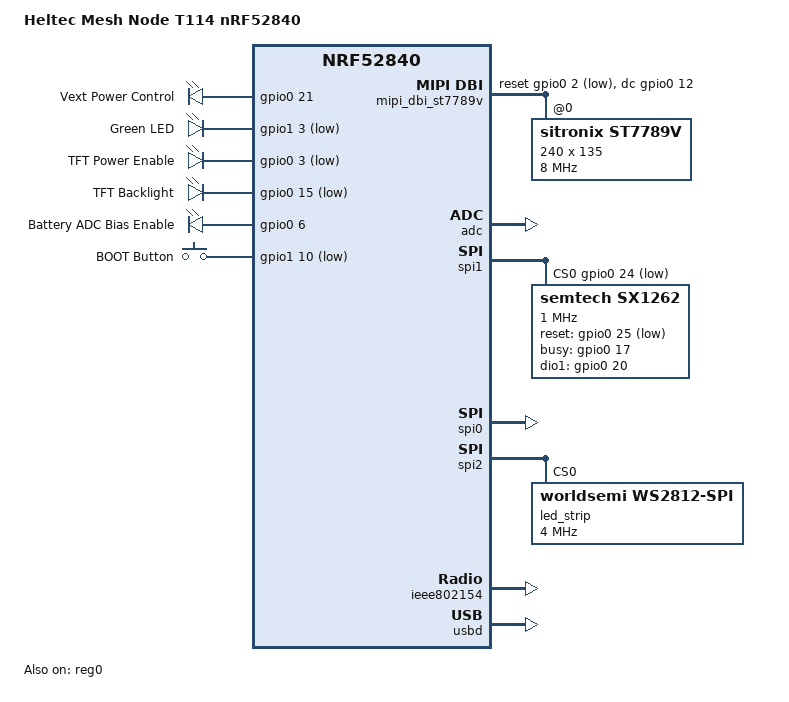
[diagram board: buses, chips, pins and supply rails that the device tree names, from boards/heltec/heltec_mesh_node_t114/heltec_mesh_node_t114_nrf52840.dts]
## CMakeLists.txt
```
cmake_minimum_required(VERSION 3.20.0)

# External Zephyr modules
list(APPEND ZEPHYR_EXTRA_MODULES ${CMAKE_CURRENT_SOURCE_DIR}/../esp-iot-log)

# Zephyr package
find_package(Zephyr REQUIRED HINTS $ENV{ZEPHYR_BASE})
project(tinygs_nRF52)

# Enable C++ support for RadioLib
set(CMAKE_CXX_STANDARD 20)

# RadioLib: only compile SX126x + core (saves ~85KB vs all radio modules).
# In v3.3 sysbuild, zephyr_library_named() is rejected in app-mode CMakeLists,
# so we add the sources directly to the app target instead.
file(GLOB RADIOLIB_CORE "lib/RadioLib/src/*.cpp")
file(GLOB RADIOLIB_SX126x "lib/RadioLib/src/modules/SX126x/*.cpp")
file(GLOB RADIOLIB_UTILS "lib/RadioLib/src/utils/*.cpp")
file(GLOB RADIOLIB_PHYSICAL "lib/RadioLib/src/protocols/PhysicalLayer/*.cpp")
set(RADIOLIB_SRCS
    ${RADIOLIB_CORE}
    ${RADIOLIB_SX126x}
    ${RADIOLIB_UTILS}
    ${RADIOLIB_PHYSICAL}
    lib/RadioLib/src/hal/Zephyr/ZephyrHal.cpp
)

# Application Sources
target_sources(app PRIVATE
    ${RADIOLIB_SRCS}
    src/main.cpp
    src/usb_stack.cpp
    src/hal/test_ZephyrHal.cpp
    src/tinygs_protocol.cpp
    src/tinygs_json.cpp
    src/tinygs_config.cpp
    src/tinygs_tz.cpp
    src/tinygs_display.cpp
    src/font8x16.c
    src/bitcode.c
    src/web/web_ui.cpp
    src/web/log_backend_web.c
    lib/AioP13/src/AioP13.cpp
)

# App Include Directories
target_include_directories(app PRIVATE src src/hal src/web lib/RadioLib/src lib/ArduinoJson/src lib/AioP13/src)

# AioP13 is third-party code; keep its warnings out of the build log without
# editing the vendored source.
set_source_files_properties(lib/AioP13/src/AioP13.cpp PROPERTIES
  COMPILE_OPTIONS "-Wno-parentheses;-Wno-unused-function;-Wno-comment")

# nrf_security's generated mbedTLS config headers have no entry for
# MBEDTLS_MEMORY_DEBUG, so CONFIG_MBEDTLS_MEMORY_DEBUG=y alone never reaches
# memory_buffer_alloc.c. Define it for every target so the library builds
# mbedtls_memory_buffer_alloc_{cur,max}_get and the header declares them
# (used by the STATUS log in src/main.cpp).
if(CONFIG_MBEDTLS_MEMORY_DEBUG)
  zephyr_compile_definitions(MBEDTLS_MEMORY_DEBUG)
endif()

# Toolchain-provided picolibc ships both nano-malloc.c and the regular
# malloc.c in libc.a, both defining malloc/free. Combined with Zephyr's
# COMMON_LIBC_MALLOC the linker sees duplicates. --allow-multiple-definition
# tells ld to use the first definition seen (COMMON_LIBC_MALLOC, listed
# before libc.a) and silently drop the picolibc nano-malloc duplicate.
#
# --wrap=<sym> intercepts every reference to <sym> through __wrap_<sym>
# and exposes the original as __real_<sym>. We use this to track bytes
# in the libc malloc arena (z_malloc_heap), which is otherwise opaque
# (the symbol is static in libc/common/source/stdlib/malloc.c). See
# pmem_* in src/main.cpp for the tracking shim.
zephyr_link_libraries(
    -Wl,--allow-multiple-definition
    -Wl,--wrap=malloc,--wrap=calloc,--wrap=realloc,--wrap=free)

# Web UI HTTP service iterable section.
zephyr_linker_sources(SECTIONS sections-rom.ld)
zephyr_linker_section(NAME http_resource_desc_tinygs_web
                      KVMA RAM_REGION GROUP RODATA_REGION)

# Generate UF2 for Adafruit/Heltec bootloaders
set_target_properties(app PROPERTIES BUILD_OUTPUT_UF2 TRUE)
```

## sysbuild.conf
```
# Sysbuild config for NCS v3.3.0
#
# Disable the deprecated Partition Manager — our flash layout is fully
# DTS-driven via app.overlay. Keeping PM on triggers flashdisk.c errors
# (PM_FOREACH_AFFILIATED_TO_disk macro undefined when per-image PM is off
# but sysbuild PM is on).
SB_CONFIG_PARTITION_MANAGER=n
```

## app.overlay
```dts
/*
 * TinyGS application overlay for the Heltec Mesh Node T114.
 *
 * Hardware definitions live in the board files at
 *   boards/heltec/heltec_mesh_node_t114/
 * This overlay only declares application-level wiring:
 *   - USB CDC ACM as the Zephyr console
 *   - A flash-disk node backed by tinygs_storage so USB MSC can serve
 *     the on-device configurator drive
 */

/ {
	chosen {
		zephyr,console = &cdc_acm_uart0;
		/* zephyr,display = &st7789v;  -- enable for LVGL */
	};

	/*
	 * 64 KB FATFS partition exposed to the host as the "TinyGS
	 * Configurator" USB drive. The partition itself is defined in the
	 * board DTS (tinygs_storage at 0xE2000); this node just attaches
	 * the disk-access layer to it.
	 */
	msc_disk0 {
		compatible = "zephyr,flash-disk";
		partition = <&tinygs_storage>;
		disk-name = "NAND";
		cache-size = <4096>;
	};
};

&zephyr_udc0 {
	cdc_acm_uart0: cdc_acm_uart0 {
		compatible = "zephyr,cdc-acm-uart";
	};
};

/*
 * External SPI NOR flash on the GPS port — Winbond W25Q128JVSQ (16 MB).
 * Pin map (PLAN.md §3.5): GPS_STANDBY=P1.02 (CS), GPS_PPS=P1.04 (SCK),
 *                         GPS_RX=P1.05 (MOSI), GPS_TX=P1.07 (MISO).
 * Power: Vext (P0.21) gates the 3V3 rail to the breakout. Vext is held
 * HIGH from boot, so probing during init works.
 *
 * --- Currently DISABLED — chip not yet physically wired ---
 *
 * The original `status = "okay"` claim of "fail-safe if absent" was wrong:
 * Zephyr's SPI NOR driver runs `spi_nor_configure()` during SYS_INIT (via
 * PM_DEVICE_RUNTIME's TURN_ON action), and its `spi_nor_wait_until_ready()`
 * spin loop has no iteration cap or timeout. With no chip wired, MISO
 * floats → status register reads 0xFF → WIP bit appears stuck → CPU
 * spins forever inside SYS_INIT, before main() ever runs. No boot
 * banner, no USB CDC enumeration past the brief stack init, no watchdog
 * (WDT isn't armed until watchdog_init() inside main). Confirmed in
 * bisect cycle 4 of e230dcc → main: device hangs identically every time.
 *
 * To re-enable when the breakout is physically wired:
 *   1. Verify the four-pin wiring matches the pinctrl block below
 *      (P1.02 CS, P1.04 SCK, P1.05 MOSI, P1.07 MISO).
 *   2. Confirm Vext is on at boot (enable_peripherals() in main.cpp).
 *      A multimeter on the breakout's VCC should read ~3.3 V.
 *   3. Edit BOTH lines below:
 *        - `ext_flash:` node:  status = "disabled"  →  status = "okay"
 *      The `&spi3` controller node already stays `status = "okay"`.
 *   4. Rebuild and flash. On boot you should see one of:
 *        <inf> tinygs_nrf52: ext_flash: spi3@... ready (16 MB, jedec-id ...)
 *      (success — proceed) or:
 *        <wrn> tinygs_nrf52: ext_flash: not detected ... continuing
 *      (driver bound but chip didn't respond — re-check wiring).
 *      If the device hangs at boot again, the wiring is wrong and the
 *      driver's spin loop is back — disable the node and check pins.
 *
 * TODO: a robust upstream fix would patch spi_nor_wait_until_ready() to
 * cap iterations and return -ENODEV on suspected absence — then we could
 * leave the node `okay` permanently and let the runtime probe decide.
 * Until then, the DTS gates physical presence honestly.
 */
&pinctrl {
	spi3_default: spi3_default {
		group1 {
			psels = <NRF_PSEL(SPIM_SCK,  1, 4)>,
				<NRF_PSEL(SPIM_MOSI, 1, 5)>,
				<NRF_PSEL(SPIM_MISO, 1, 7)>;
		};
	};

	spi3_sleep: spi3_sleep {
		group1 {
			psels = <NRF_PSEL(SPIM_SCK,  1, 4)>,
				<NRF_PSEL(SPIM_MOSI, 1, 5)>,
				<NRF_PSEL(SPIM_MISO, 1, 7)>;
			low-power-enable;
		};
	};
};

&spi3 {
	compatible = "nordic,nrf-spim";
	status = "okay";
	cs-gpios = <&gpio1 2 GPIO_ACTIVE_LOW>;
	pinctrl-0 = <&spi3_default>;
	pinctrl-1 = <&spi3_sleep>;
	pinctrl-names = "default", "sleep";

	ext_flash: w25q128@0 {
		compatible = "jedec,spi-nor";
		/* status: flip to "okay" once the W25Q128JV breakout is wired —
		 * see the multi-line comment above &pinctrl for the full procedure
		 * and the reason this stays disabled until then. */
		status = "disabled";
		reg = <0>;
		spi-max-frequency = <8000000>; /* 8 MHz — conservative; W25Q128JV good to 104 MHz */
		size = <DT_SIZE_M(128)>;       /* 128 Mbit = 16 MB */
		has-dpd;
		t-enter-dpd = <3000>;          /* ns; tDP per W25Q128JV datasheet */
		t-exit-dpd  = <3000>;          /* ns; tRES1 */
		jedec-id = [ ef 40 18 ];       /* W25Q128JVSQ */
	};
};
```

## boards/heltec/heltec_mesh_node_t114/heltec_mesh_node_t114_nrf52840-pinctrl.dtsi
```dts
/*
 * Copyright (c) 2026 Bruce Fitzsimons
 * SPDX-License-Identifier: Apache-2.0
 *
 * Pin assignments verified against:
 *   - Heltec MeshNode T114 V2.1 schematic
 *     (https://resource.heltec.cn/download/Mesh_Node_T114/schematic/MeshNode-T114_V2.1.pdf)
 *   - Meshtastic firmware variant.h
 *     (variants/nrf52840/heltec_mesh_node_t114/variant.h)
 *
 * SPI bus assignment (Zephyr instance numbering, distinct from Arduino's):
 *   spi0 -> ST7789V TFT display
 *   spi1 -> SX1262 LoRa radio
 *   spi2 -> WS2812 / SK6812 NeoPixel (dummy SCK)
 */

&pinctrl {
	/* SX1262 LoRa radio */
	spi1_default: spi1_default {
		group1 {
			psels = <NRF_PSEL(SPIM_SCK, 0, 19)>,
				<NRF_PSEL(SPIM_MOSI, 0, 22)>,
				<NRF_PSEL(SPIM_MISO, 0, 23)>;
		};
	};

	spi1_sleep: spi1_sleep {
		group1 {
			psels = <NRF_PSEL(SPIM_SCK, 0, 19)>,
				<NRF_PSEL(SPIM_MOSI, 0, 22)>,
				<NRF_PSEL(SPIM_MISO, 0, 23)>;
			low-power-enable;
		};
	};

	/* ST7789V display — write-only, no MISO line */
	spi0_default: spi0_default {
		group1 {
			psels = <NRF_PSEL(SPIM_SCK, 1, 8)>,
				<NRF_PSEL(SPIM_MOSI, 1, 9)>;
		};
	};

	spi0_sleep: spi0_sleep {
		group1 {
			psels = <NRF_PSEL(SPIM_SCK, 1, 8)>,
				<NRF_PSEL(SPIM_MOSI, 1, 9)>;
			low-power-enable;
		};
	};

	/*
	 * NeoPixel chain (2x SK6812). The nRF SPIM peripheral mandates an
	 * SCK pin even though WS2812-via-SPI ignores it; routing SCK to the
	 * unpopulated UART2 RX pad (P0.09) keeps it off any external pin.
	 */
	spi2_default: spi2_default {
		group1 {
			psels = <NRF_PSEL(SPIM_MOSI, 0, 14)>,
				<NRF_PSEL(SPIM_SCK, 0, 9)>;
		};
	};

	spi2_sleep: spi2_sleep {
		group1 {
			psels = <NRF_PSEL(SPIM_MOSI, 0, 14)>,
				<NRF_PSEL(SPIM_SCK, 0, 9)>;
			low-power-enable;
		};
	};

	/*
	 * UART1 — L76K GNSS module (optional, populated on T114 V2 only when
	 * GPS variant is ordered). TX from MCU = P1.07, RX into MCU = P1.05.
	 */
	uart1_default: uart1_default {
		group1 {
			psels = <NRF_PSEL(UART_TX, 1, 7)>;
		};
		group2 {
			psels = <NRF_PSEL(UART_RX, 1, 5)>;
			bias-pull-up;
		};
	};

	uart1_sleep: uart1_sleep {
		group1 {
			psels = <NRF_PSEL(UART_TX, 1, 7)>,
				<NRF_PSEL(UART_RX, 1, 5)>;
			low-power-enable;
		};
	};

	/* I2C0 — RTC footprint (PCF8563TS), unpopulated on V2 */
	i2c0_default: i2c0_default {
		group1 {
			psels = <NRF_PSEL(TWIM_SDA, 0, 26)>,
				<NRF_PSEL(TWIM_SCL, 0, 27)>;
		};
	};

	i2c0_sleep: i2c0_sleep {
		group1 {
			psels = <NRF_PSEL(TWIM_SDA, 0, 26)>,
				<NRF_PSEL(TWIM_SCL, 0, 27)>;
			low-power-enable;
		};
	};

	/* I2C1 — header pins, for user expansion */
	i2c1_default: i2c1_default {
		group1 {
			psels = <NRF_PSEL(TWIM_SDA, 0, 16)>,
				<NRF_PSEL(TWIM_SCL, 0, 13)>;
		};
	};

	i2c1_sleep: i2c1_sleep {
		group1 {
			psels = <NRF_PSEL(TWIM_SDA, 0, 16)>,
				<NRF_PSEL(TWIM_SCL, 0, 13)>;
			low-power-enable;
		};
	};
};
```

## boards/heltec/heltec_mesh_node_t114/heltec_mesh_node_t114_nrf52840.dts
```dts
/*
 * Copyright (c) 2026 Bruce Fitzsimons
 * SPDX-License-Identifier: Apache-2.0
 *
 * Heltec Mesh Node T114 V2 (HT-n5262)
 * ===================================
 * Product:   https://heltec.org/project/mesh-node-t114/
 * Schematic: https://resource.heltec.cn/download/Mesh_Node_T114/schematic/MeshNode-T114_V2.1.pdf
 * Arduino:   https://github.com/HelTecAutomation/Heltec_nRF52
 *
 * Hardware
 *   MCU      nRF52840 QIAA, 1 MB flash, 256 KB SRAM
 *   LoRa     SX1262, DIO2 RF switch, DIO3 TCXO 1.8 V
 *   Display  ST7789V 1.14" 240x135 RGB565 (optional)
 *   GPS      L76K GNSS on UART1 (optional, GPS-equipped variant)
 *   USB      Type-C, ESD protected, used for serial console + UF2 DFU
 *   Battery  LiPo via 100k/390k divider on AIN2 (P0.04)
 *   LEDs     Green LED (P1.03) + 2x SK6812 NeoPixel chain (P0.14)
 *   Button   BOOT (P1.10, active low)
 *
 * Bootloader (read-only from app): Adafruit nRF52 UF2 at 0xF4000-0x100000.
 * Application code partition starts at 0x26000 (above SoftDevice S140).
 * Both addresses are baked into every shipped Adafruit bootloader and must
 * never be changed without a coordinated bootloader re-flash via SWD.
 */

/dts-v1/;
#include <nordic/nrf52840_qiaa.dtsi>
#include "heltec_mesh_node_t114_nrf52840-pinctrl.dtsi"
#include <zephyr/dt-bindings/input/input-event-codes.h>
#include <zephyr/dt-bindings/led/led.h>
#include <zephyr/dt-bindings/lora/sx126x.h>

/ {
	model = "Heltec Mesh Node T114 nRF52840";
	compatible = "heltec,mesh-node-t114-nrf52840";

	chosen {
		zephyr,sram = &sram0;
		zephyr,flash = &flash0;
		zephyr,code-partition = &code_partition;
		zephyr,ieee802154 = &ieee802154;
	};

	leds {
		compatible = "gpio-leds";

		vext_pin: vext_pin {
			gpios = <&gpio0 21 GPIO_ACTIVE_HIGH>;
			label = "Vext Power Control";
		};

		green_led: green_led {
			gpios = <&gpio1 3 GPIO_ACTIVE_LOW>;
			label = "Green LED";
		};

		tft_en: tft_en {
			gpios = <&gpio0 3 GPIO_ACTIVE_LOW>;
			label = "TFT Power Enable";
		};

		backlight: backlight {
			gpios = <&gpio0 15 GPIO_ACTIVE_LOW>;
			label = "TFT Backlight";
		};

		adc_ctrl: adc_ctrl {
			gpios = <&gpio0 6 GPIO_ACTIVE_HIGH>;
			label = "Battery ADC Bias Enable";
		};
	};

	buttons {
		compatible = "gpio-keys";

		boot_button: boot_button {
			gpios = <&gpio1 10 (GPIO_ACTIVE_LOW | GPIO_PULL_UP)>;
			label = "BOOT Button";
			zephyr,code = <INPUT_KEY_0>;
		};
	};

	aliases {
		led0 = &green_led;
		sw0 = &boot_button;
		mcuboot-button0 = &boot_button;
		mcuboot-led0 = &green_led;
		watchdog0 = &wdt0;
		vext = &vext_pin;
		backlight = &backlight;
		adc-ctrl = &adc_ctrl;
		lora0 = &sx1262;
		led-strip = &led_strip;
	};
};

&reg0 {
	status = "okay";
};

&reg1 {
	regulator-initial-mode = <NRF5X_REG_MODE_DCDC>;
};

&adc {
	status = "okay";
};

&uicr {
	gpio-as-nreset;
};

&gpiote {
	status = "okay";
};

&gpio0 {
	status = "okay";
};

&gpio1 {
	status = "okay";
};

/*
 * UART1 -> L76K GNSS (only populated on GPS-equipped variant). Marked
 * disabled by default so a non-GPS board does not waste current on the
 * peripheral; applications/overlays can re-enable as needed.
 */
&uart1 {
	compatible = "nordic,nrf-uarte";
	status = "disabled";
	current-speed = <9600>;
	pinctrl-0 = <&uart1_default>;
	pinctrl-1 = <&uart1_sleep>;
	pinctrl-names = "default", "sleep";
};

&i2c0 {
	compatible = "nordic,nrf-twi";
	status = "disabled"; /* RTC footprint, unpopulated on V2 */
	pinctrl-0 = <&i2c0_default>;
	pinctrl-1 = <&i2c0_sleep>;
	pinctrl-names = "default", "sleep";
};

&i2c1 {
	compatible = "nordic,nrf-twi";
	status = "disabled"; /* available on header, off until used */
	pinctrl-0 = <&i2c1_default>;
	pinctrl-1 = <&i2c1_sleep>;
	pinctrl-names = "default", "sleep";
};

/*
 * SPI1 -> SX1262 LoRa
 *   SCK   P0.19   MOSI  P0.22   MISO  P0.23
 *   CS    P0.24   DIO1  P0.20   BUSY  P0.17   RESET P0.25
 *   DIO2 -> internal RF switch, DIO3 -> TCXO 1.8 V
 */
&spi1 {
	compatible = "nordic,nrf-spim";
	status = "okay";
	pinctrl-0 = <&spi1_default>;
	pinctrl-1 = <&spi1_sleep>;
	pinctrl-names = "default", "sleep";
	cs-gpios = <&gpio0 24 GPIO_ACTIVE_LOW>;

	sx1262: sx1262@0 {
		compatible = "semtech,sx1262";
		reg = <0>;
		spi-max-frequency = <1000000>;
		reset-gpios = <&gpio0 25 GPIO_ACTIVE_LOW>;
		busy-gpios = <&gpio0 17 GPIO_ACTIVE_HIGH>;
		dio1-gpios = <&gpio0 20 GPIO_ACTIVE_HIGH>;
		dio2-tx-enable;
		dio3-tcxo-voltage = <SX126X_DIO3_TCXO_1V8>;
		tcxo-power-startup-delay-ms = <5>;
	};
};

/*
 * SPI0 -> ST7789V TFT (240x135 landscape)
 *   SCK P1.08, MOSI P1.09, CS P0.11, DC P0.12, RESET P0.02
 *   Backlight P0.15 (active LOW), TFT power enable P0.03 (active LOW)
 */
&spi0 {
	compatible = "nordic,nrf-spim";
	status = "okay";
	pinctrl-0 = <&spi0_default>;
	pinctrl-1 = <&spi0_sleep>;
	pinctrl-names = "default", "sleep";
	cs-gpios = <&gpio0 11 GPIO_ACTIVE_LOW>;
};

/*
 * Zephyr 3.7 moved the ST7789V driver under the MIPI DBI API. The
 * display node is now a child of a `zephyr,mipi-dbi-spi` wrapper which
 * owns DC + RESET; the inner node owns the controller-specific timing.
 */
/ {
	mipi_dbi_st7789v {
		compatible = "zephyr,mipi-dbi-spi";
		spi-dev = <&spi0>;
		/*
		 * dc-gpios polarity is GPIO_ACTIVE_HIGH for the v3.7 mipi-dbi-spi
		 * driver — it writes 0 for command, 1 for data per the binding
		 * ("Set to low when sending a command, or high when sending data").
		 * The legacy v2.6 ST7789V driver was the opposite (wrote 1 for
		 * command), so the same physical pin needed GPIO_ACTIVE_LOW back
		 * then; carrying that flag verbatim into the MIPI DBI rewrite
		 * inverted DC, the chip read every command as data, init silently
		 * did nothing, and the display stayed blank.
		 */
		dc-gpios = <&gpio0 12 GPIO_ACTIVE_HIGH>;
		reset-gpios = <&gpio0 2 GPIO_ACTIVE_LOW>;
		write-only;
		#address-cells = <1>;
		#size-cells = <0>;

		st7789v: st7789v@0 {
			compatible = "sitronix,st7789v";
			reg = <0>;
			mipi-max-frequency = <8000000>;
			mipi-mode = "MIPI_DBI_MODE_SPI_4WIRE";
			width = <240>;
			height = <135>;
			x-offset = <40>;
			y-offset = <53>;
			vcom = <0x19>;
			gctrl = <0x35>;
			vrhs = <0x12>;
			vdvs = <0x20>;
			mdac = <0x60>;        /* 90-degree rotation */
			gamma = <0x01>;
			colmod = <0x55>;      /* RGB565 */
			lcm = <0x2c>;
			porch-param = [0c 0c 00 33 33];
			cmd2en-param = [5a 69 02 01];
			pwctrl1-param = [a4 a1];
			pvgam-param = [D0 04 0D 11 13 2B 3F 54 4C 18 0D 0B 1F 23];
			nvgam-param = [D0 04 0C 11 13 2C 3F 44 51 2F 1F 1F 20 23];
			ram-param = [00 F0];
			rgb-param = [CD 08 14];
		};
	};
};

/*
 * SPI2 -> WS2812/SK6812 NeoPixel chain (2 pixels, GRB at 800 kHz).
 * The nRF SPIM peripheral mandates an SCK pin; the dummy SCK is routed
 * to the unpopulated UART2 RX pad (P0.09).
 *
 * NeoPixel power is gated by Vext (P0.21) — drive vext_pin high before
 * sending data.
 */
&spi2 {
	compatible = "nordic,nrf-spim";
	status = "okay";
	pinctrl-0 = <&spi2_default>;
	pinctrl-1 = <&spi2_sleep>;
	pinctrl-names = "default", "sleep";

	led_strip: ws2812@0 {
		compatible = "worldsemi,ws2812-spi";
		reg = <0>;
		spi-max-frequency = <4000000>;
		chain-length = <2>;
		color-mapping = <LED_COLOR_ID_GREEN
				 LED_COLOR_ID_RED
				 LED_COLOR_ID_BLUE>;
		spi-one-frame = <0x70>;
		spi-zero-frame = <0x40>;
	};
};

/*
 * QSPI: the T114 V2 schematic exposes pins for an external QSPI flash
 * (MX25R16 footprint), but production V2 boards do not populate it.
 * Keep QSPI disabled — leaving it enabled would also cause pin
 * conflicts with our SPI1 (SX1262) on P0.19/22/23 and SX1262 BUSY on
 * P0.17, both of which the nRF52840 DK board pinctrl reserves for QSPI.
 */
&qspi {
	status = "disabled";
};

&ieee802154 {
	status = "okay";
};

zephyr_udc0: &usbd {
	compatible = "nordic,nrf-usbd";
	status = "okay";
};

/*
 * Flash partition map — Heltec Mesh Node T114 (1 MB nRF52840)
 *
 * Verified against the Adafruit nRF52 bootloader linker script and
 * recovered SWD flash dumps.
 *
 *   0x00000  +-------------------------------+
 *            | MBR + SoftDevice S140 (152K) | read-only
 *   0x26000  +-------------------------------+
 *            | Application       (752 KB)    | code_partition
 *   0xE2000  +-------------------------------+
 *            | FATFS Storage      (64 KB)    | tinygs_storage
 *   0xF2000  +-------------------------------+
 *            | NVS Settings        (8 KB)    | storage_partition
 *   0xF4000  +-------------------------------+
 *            | Adafruit Bootloader (48 KB)   | read-only
 *   0x100000 +-------------------------------+
 *
 * CRITICAL: any write at or above 0xF4000 will brick the device — the
 * Adafruit UF2 bootloader lives there and is the only path to recovery
 * without SWD. Likewise the SoftDevice region (0..0x26000) is preserved
 * even though we don't use the SoftDevice; relocating code_partition
 * downward would also brick existing devices because the bootloader
 * jumps to 0x26000.
 */
&flash0 {
	partitions {
		compatible = "fixed-partitions";
		#address-cells = <1>;
		#size-cells = <1>;

		boot_partition: partition@0 {
			label = "softdevice";
			reg = <0x00000000 0x00026000>;
			read-only;
		};

		code_partition: partition@26000 {
			label = "code_slot";
			reg = <0x00026000 0x000bc000>;
		};

		/*
		 * 64 KB FATFS — exposed over USB MSC as the configurator drive.
		 * Must be >=128 sectors (64 KB at 512 B/sector) so that the
		 * FatFs auto-format path will produce a valid FS.
		 */
		tinygs_storage: partition@e2000 {
			label = "tinygs_storage";
			reg = <0x000e2000 0x00010000>;
		};

		/* 8 KB NVS — OpenThread network credentials + app settings. */
		storage_partition: partition@f2000 {
			label = "storage";
			reg = <0x000f2000 0x00002000>;
		};

		bootloader_partition: partition@f4000 {
			label = "adafruit_bootloader";
			reg = <0x000f4000 0x0000c000>;
			read-only;
		};
	};
};
```

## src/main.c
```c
#include <zephyr/kernel.h>
#include <zephyr/logging/log.h>
#include <zephyr/net/openthread.h>
#include <zephyr/net/mqtt.h>
#include <zephyr/net/socket.h>
#include <openthread/thread.h>
#include <openthread/ip6.h>

LOG_MODULE_REGISTER(tinygs_nrf52, LOG_LEVEL_DBG);

/* The mqtt client struct */
static struct mqtt_client client_ctx;

/* MQTT Broker details */
#define SERVER_ADDR "mqtt.tinygs.com"
#define SERVER_PORT 8883
#define APP_CONNECT_TIMEOUT_MS 2000
#define APP_SLEEP_MSECS 500

/* Buffers for MQTT client */
static uint8_t rx_buffer[256];
static uint8_t tx_buffer[256];
static uint8_t payload_buf[256];

/**
 * OpenThread State Change Callback
 */
static void ot_state_changed_handler(otChangedFlags flags, struct openthread_context *ot_context, void *user_data)
{
    if (flags & OT_CHANGED_THREAD_ROLE) {
        switch (otThreadGetDeviceRole(ot_context->instance)) {
        case OT_DEVICE_ROLE_CHILD:
            LOG_INF("OpenThread Role: Child (Connected)");
            break;
        case OT_DEVICE_ROLE_ROUTER:
            LOG_INF("OpenThread Role: Router (Connected)");
            break;
        case OT_DEVICE_ROLE_LEADER:
            LOG_INF("OpenThread Role: Leader (Connected)");
            break;
        case OT_DEVICE_ROLE_DETACHED:
            LOG_INF("OpenThread Role: Detached");
            break;
        case OT_DEVICE_ROLE_DISABLED:
            LOG_INF("OpenThread Role: Disabled");
            break;
        }
    }
}

static struct openthread_state_changed_cb ot_state_cb = {
    .state_changed_cb = ot_state_changed_handler,
};

/**
 * Initialize OpenThread Network
 */
static void init_openthread(void)
{
    LOG_INF("Initializing OpenThread...");
    openthread_state_changed_cb_register(openthread_get_default_context(), &ot_state_cb);
    openthread_start(openthread_get_default_context());
}

/**
 * Main Application Loop
 */
int main(void)
{
    LOG_INF("TinyGS nRF52 Port - Phase 1: TLS over Thread PoC");
    LOG_INF("Board: Heltec T114");

    init_openthread();

    /* The main loop will eventually handle the state machine for MQTT keep-alives 
       and checking for LoRa packets. For now, we just sleep to let the OpenThread 
       stack connect to the Border Router in the background. */
    while (1) {
        k_msleep(APP_SLEEP_MSECS);
    }

    return 0;
}
```

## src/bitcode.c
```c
/*
 * BitCode — FSK frame decoders ported from ESP32 TinyGS
 * Original: Copyright (C) 2022-2023 @estbhan (GPL-3.0)
 * Ported to C for Zephyr by TinyGS nRF52 project.
 */

#include "bitcode.h"
#include <string.h>
#include <stdbool.h>

/* Read bit at position (1=LSB, 8=MSB) from a byte */
static inline uint8_t read_bit(uint8_t byte, int pos)
{
    return (byte >> (pos - 1)) & 1;
}

/* Write bit at position (1=LSB, 8=MSB) in a byte */
static inline void write_bit_byte(uint8_t *byte, int pos, int val)
{
    if (val) {
        *byte |= (1 << (pos - 1));
    } else {
        *byte &= ~(1 << (pos - 1));
    }
}

/* Read bit at position from uint32_t */
static inline int read_bit32(uint32_t val, int pos)
{
    return (val >> (pos - 1)) & 1;
}

static inline void write_bit32(uint32_t *val, int pos, int bit)
{
    if (bit) {
        *val |= (1u << (pos - 1));
    } else {
        *val &= ~(1u << (pos - 1));
    }
}

uint8_t bitcode_reverse_byte(uint8_t b)
{
    uint8_t r = 0;
    for (int i = 1; i <= 8; i++) {
        r = (r << 1) | read_bit(b, i);
    }
    return r;
}

/* NRZ to NRZI conversion */
static void nrz2nrzi(const uint8_t *in, size_t len, uint8_t *out, size_t *out_len)
{
    uint8_t prev = 0;
    size_t idx = 0;

    for (size_t p = 0; p < len; p++) {
        uint8_t byte_in = in[p];
        uint8_t byte_out = 0;
        for (int i = 8; i > 0; i--) {
            uint8_t cur = read_bit(byte_in, i);
            if (prev == cur) {
                byte_out |= (1 << (i - 1));
            }
            prev = cur;
        }
        out[idx++] = byte_out;
    }
    *out_len = idx;
}

/* x^17+x^12 descrambler */
static void descram1712(const uint8_t *in, size_t len, uint8_t *out)
{
    uint32_t lfsr = 0;

    for (size_t idx = 0; idx < len; idx++) {
        uint8_t byte_in = in[idx];
        uint8_t byte_out = 0;

        for (int bit_pos = 8; bit_pos > 0; bit_pos--) {
            int x1 = read_bit32(lfsr, 12) ^ read_bit32(lfsr, 17);
            int bit = read_bit(byte_in, bit_pos);
            write_bit_byte(&byte_out, bit_pos, bit ^ x1);
            lfsr = lfsr << 1;
            write_bit32(&lfsr, 1, bit);
        }

        out[idx] = byte_out;
    }
}

/* Remove AX.25 bit stuffing and extract frame */
static int remove_bit_stuffing(const uint8_t *in, size_t in_len,
                               uint8_t *out, size_t *out_len, size_t out_max)
{
    int ones = 0, k = 8;
    uint8_t byte_in, byte_out = 0;
    int bit1 = 0, bit2, bit3;
    int resync = 0;
    bool error = true;
    bool flag_found = false;
    bool skip = false;
    bool store = false;
    *out_len = 0;

    byte_in = in[0];
    bit2 = read_bit(byte_in, 8);
    bit3 = read_bit(byte_in, 7);
    int j = 6;
    size_t i = 0;

    while (i < in_len) {
        byte_in = in[i];
        while (j > 0) {
            bit1 = bit2;
            bit2 = bit3;
            bit3 = read_bit(byte_in, j);

            if (resync > 0) {
                resync--;
                skip = true;
            }

            if (!skip && !flag_found) {
                if (bit1 == 0) {
                    if (store) write_bit_byte(&byte_out, k, 0);
                    k--;
                    ones = 0;
                    if (k == 0) {
                        if (store && *out_len < out_max) {
                            out[(*out_len)++] = byte_out;
                        }
                        k = 8;
                        byte_out = 0;
                    }
                } else {
                    ones++;
                    if (store) write_bit_byte(&byte_out, k, 1);
                    k--;
                    if (k == 0) {
                        if (store && *out_len < out_max) {
                            out[(*out_len)++] = byte_out;
                        }
                        k = 8;
                        byte_out = 0;
                    }
                    if (ones == 5) {
                        if (bit2 == 1) {
                            j = 0;
                            if (bit3 == 0) {
                                flag_found = true;
                                if (!store) store = true;
                                if (*out_len < 16 || k != 2) {
                                    *out_len = 0;
                                    k = 8;
                                    error = true;
                                    flag_found = false;
                                    resync = 2;
                                } else {
                                    if (k == 2) {
                                        error = false;
                                        i = in_len; /* break outer */
                                    } else {
                                        error = true;
                                    }
                                }
                            } else {
                                error = true;
                            }
                        } else {
                            ones = 0;
                            skip = true;
                        }
                    }
                }
            } else {
                skip = false;
            }
            j--;
        }
        j = 8;
        i++;
    }

    return (flag_found && !error) ? 0 : 1;
}

int bitcode_nrz2ax25(const uint8_t *data, size_t data_len,
                     const uint8_t *sync_word, size_t sync_len,
                     uint8_t framing,
                     uint8_t *ax25bin, size_t *out_len, size_t out_max)
{
    if (data_len + sync_len < 16) {
        *out_len = 0;
        return 1;
    }

    /* Prepend sync word to packet data */
    size_t total = sync_len + data_len;
    /* Use stack buffer — FSK packets are small (<256 bytes typically) */
    uint8_t combined[512];
    if (total > sizeof(combined)) {
        *out_len = 0;
        return 1;
    }
    memcpy(combined, sync_word, sync_len);
    memcpy(combined + sync_len, data, data_len);

    uint8_t hdlc[512];
    size_t hdlc_len = 0;

    if (framing == 1) {
        /* NRZS → AX.25 */
        nrz2nrzi(combined, total, hdlc, &hdlc_len);
    } else if (framing == 3) {
        /* Scrambled(x17x12) → NRZS → AX.25 */
        uint8_t descrambled[512];
        descram1712(combined, total, descrambled);
        nrz2nrzi(descrambled, total, hdlc, &hdlc_len);
    } else {
        *out_len = 0;
        return 1;
    }

    /* Remove bit stuffing and extract AX.25 frame */
    uint8_t inverted[512];
    size_t inv_len = 0;
    int result = remove_bit_stuffing(hdlc, hdlc_len, inverted, &inv_len, sizeof(inverted));

    /* Invert bit order of each byte (AX.25 convention) */
    *out_len = (inv_len > out_max) ? out_max : inv_len;
    for (size_t i = 0; i < *out_len; i++) {
        ax25bin[i] = bitcode_reverse_byte(inverted[i]);
    }

    return result;
}

void bitcode_pn9(const uint8_t *in, size_t len, uint8_t *out)
{
    uint32_t pn9 = 0x1FF;
    uint32_t mask = 0x1FF;

    for (size_t b = 0; b < len; b++) {
        out[b] = in[b] ^ (uint8_t)pn9;
        for (int k = 0; k < 8; k++) {
            write_bit32(&pn9, 10, read_bit32(pn9, 1) ^ read_bit32(pn9, 6));
            pn9 >>= 1;
            pn9 &= mask;
        }
    }
}
```

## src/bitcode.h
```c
/*
 * BitCode — FSK frame decoders ported from ESP32 TinyGS
 * Original: Copyright (C) 2022-2023 @estbhan (GPL-3.0)
 *
 * Provides:
 *   - NRZ to NRZI conversion
 *   - AX.25 HDLC frame extraction (flag detection, bit unstuffing)
 *   - PN9 descrambler (fixed 8-bit shift)
 *   - x^17+x^12 descrambler
 */

#ifndef BITCODE_H
#define BITCODE_H

#include <stdint.h>
#include <stddef.h>

#ifdef __cplusplus
extern "C" {
#endif

/*
 * Decode NRZ-S encoded FSK data into AX.25 frame.
 * Prepends sync word, converts NRZ→NRZI, removes bit stuffing,
 * inverts bit order per byte.
 *
 * framing=1: NRZS → AX.25
 * framing=3: Scrambled(x17x12) → NRZS → AX.25
 *
 * Returns 0 on success, 1 on frame error.
 * Output in ax25bin, size in *out_len.
 */
int bitcode_nrz2ax25(const uint8_t *data, size_t data_len,
                     const uint8_t *sync_word, size_t sync_len,
                     uint8_t framing,
                     uint8_t *ax25bin, size_t *out_len, size_t out_max);

/*
 * PN9 descrambler (fixed 8-bit shift).
 * framing=2.
 * Output same size as input.
 */
void bitcode_pn9(const uint8_t *in, size_t len, uint8_t *out);

/*
 * Reverse bits in a single byte.
 */
uint8_t bitcode_reverse_byte(uint8_t b);

#ifdef __cplusplus
}
#endif

#endif /* BITCODE_H */
```

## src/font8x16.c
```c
/**
 * 8x16 bitmap font — ASCII 32-126 (printable characters).
 * Based on the classic PC BIOS font. Public domain.
 * 16 bytes per character (one byte per row, MSB = left).
 */

#include "font8x16.h"

const uint8_t font8x16_data[] = {
    /* Space (32) */
    0x00,0x00,0x00,0x00,0x00,0x00,0x00,0x00,0x00,0x00,0x00,0x00,0x00,0x00,0x00,0x00,
    /* ! */
    0x00,0x00,0x18,0x3C,0x3C,0x3C,0x18,0x18,0x18,0x00,0x18,0x18,0x00,0x00,0x00,0x00,
    /* " */
    0x00,0x66,0x66,0x66,0x24,0x00,0x00,0x00,0x00,0x00,0x00,0x00,0x00,0x00,0x00,0x00,
    /* # */
    0x00,0x00,0x00,0x6C,0x6C,0xFE,0x6C,0x6C,0x6C,0xFE,0x6C,0x6C,0x00,0x00,0x00,0x00,
    /* $ */
    0x18,0x18,0x7C,0xC6,0xC2,0xC0,0x7C,0x06,0x06,0x86,0xC6,0x7C,0x18,0x18,0x00,0x00,
    /* % */
    0x00,0x00,0x00,0x00,0xC2,0xC6,0x0C,0x18,0x30,0x60,0xC6,0x86,0x00,0x00,0x00,0x00,
    /* & */
    0x00,0x00,0x38,0x6C,0x6C,0x38,0x76,0xDC,0xCC,0xCC,0xCC,0x76,0x00,0x00,0x00,0x00,
    /* ' */
    0x00,0x30,0x30,0x30,0x60,0x00,0x00,0x00,0x00,0x00,0x00,0x00,0x00,0x00,0x00,0x00,
    /* ( */
    0x00,0x00,0x0C,0x18,0x30,0x30,0x30,0x30,0x30,0x30,0x18,0x0C,0x00,0x00,0x00,0x00,
    /* ) */
    0x00,0x00,0x30,0x18,0x0C,0x0C,0x0C,0x0C,0x0C,0x0C,0x18,0x30,0x00,0x00,0x00,0x00,
    /* * */
    0x00,0x00,0x00,0x00,0x00,0x66,0x3C,0xFF,0x3C,0x66,0x00,0x00,0x00,0x00,0x00,0x00,
    /* + */
    0x00,0x00,0x00,0x00,0x00,0x18,0x18,0x7E,0x18,0x18,0x00,0x00,0x00,0x00,0x00,0x00,
    /* , */
    0x00,0x00,0x00,0x00,0x00,0x00,0x00,0x00,0x00,0x18,0x18,0x18,0x30,0x00,0x00,0x00,
    /* - */
    0x00,0x00,0x00,0x00,0x00,0x00,0x00,0xFE,0x00,0x00,0x00,0x00,0x00,0x00,0x00,0x00,
    /* . */
    0x00,0x00,0x00,0x00,0x00,0x00,0x00,0x00,0x00,0x00,0x18,0x18,0x00,0x00,0x00,0x00,
    /* / */
    0x00,0x00,0x00,0x00,0x02,0x06,0x0C,0x18,0x30,0x60,0xC0,0x80,0x00,0x00,0x00,0x00,
    /* 0 */
    0x00,0x00,0x38,0x6C,0xC6,0xC6,0xD6,0xD6,0xC6,0xC6,0x6C,0x38,0x00,0x00,0x00,0x00,
    /* 1 */
    0x00,0x00,0x18,0x38,0x78,0x18,0x18,0x18,0x18,0x18,0x18,0x7E,0x00,0x00,0x00,0x00,
    /* 2 */
    0x00,0x00,0x7C,0xC6,0x06,0x0C,0x18,0x30,0x60,0xC0,0xC6,0xFE,0x00,0x00,0x00,0x00,
    /* 3 */
    0x00,0x00,0x7C,0xC6,0x06,0x06,0x3C,0x06,0x06,0x06,0xC6,0x7C,0x00,0x00,0x00,0x00,
    /* 4 */
    0x00,0x00,0x0C,0x1C,0x3C,0x6C,0xCC,0xFE,0x0C,0x0C,0x0C,0x1E,0x00,0x00,0x00,0x00,
    /* 5 */
    0x00,0x00,0xFE,0xC0,0xC0,0xC0,0xFC,0x06,0x06,0x06,0xC6,0x7C,0x00,0x00,0x00,0x00,
    /* 6 */
    0x00,0x00,0x38,0x60,0xC0,0xC0,0xFC,0xC6,0xC6,0xC6,0xC6,0x7C,0x00,0x00,0x00,0x00,
    /* 7 */
    0x00,0x00,0xFE,0xC6,0x06,0x06,0x0C,0x18,0x30,0x30,0x30,0x30,0x00,0x00,0x00,0x00,
    /* 8 */
    0x00,0x00,0x7C,0xC6,0xC6,0xC6,0x7C,0xC6,0xC6,0xC6,0xC6,0x7C,0x00,0x00,0x00,0x00,
    /* 9 */
    0x00,0x00,0x7C,0xC6,0xC6,0xC6,0x7E,0x06,0x06,0x06,0x0C,0x78,0x00,0x00,0x00,0x00,
    /* : */
    0x00,0x00,0x00,0x00,0x18,0x18,0x00,0x00,0x00,0x18,0x18,0x00,0x00,0x00,0x00,0x00,
    /* ; */
    0x00,0x00,0x00,0x00,0x18,0x18,0x00,0x00,0x00,0x18,0x18,0x30,0x00,0x00,0x00,0x00,
    /* < */
    0x00,0x00,0x00,0x06,0x0C,0x18,0x30,0x60,0x30,0x18,0x0C,0x06,0x00,0x00,0x00,0x00,
    /* = */
    0x00,0x00,0x00,0x00,0x00,0x7E,0x00,0x00,0x7E,0x00,0x00,0x00,0x00,0x00,0x00,0x00,
    /* > */
    0x00,0x00,0x00,0x60,0x30,0x18,0x0C,0x06,0x0C,0x18,0x30,0x60,0x00,0x00,0x00,0x00,
    /* ? */
    0x00,0x00,0x7C,0xC6,0xC6,0x0C,0x18,0x18,0x18,0x00,0x18,0x18,0x00,0x00,0x00,0x00,
    /* @ */
    0x00,0x00,0x00,0x7C,0xC6,0xC6,0xDE,0xDE,0xDE,0xDC,0xC0,0x7C,0x00,0x00,0x00,0x00,
    /* A */
    0x00,0x00,0x10,0x38,0x6C,0xC6,0xC6,0xFE,0xC6,0xC6,0xC6,0xC6,0x00,0x00,0x00,0x00,
    /* B */
    0x00,0x00,0xFC,0x66,0x66,0x66,0x7C,0x66,0x66,0x66,0x66,0xFC,0x00,0x00,0x00,0x00,
    /* C */
    0x00,0x00,0x3C,0x66,0xC2,0xC0,0xC0,0xC0,0xC0,0xC2,0x66,0x3C,0x00,0x00,0x00,0x00,
    /* D */
    0x00,0x00,0xF8,0x6C,0x66,0x66,0x66,0x66,0x66,0x66,0x6C,0xF8,0x00,0x00,0x00,0x00,
    /* E */
    0x00,0x00,0xFE,0x66,0x62,0x68,0x78,0x68,0x60,0x62,0x66,0xFE,0x00,0x00,0x00,0x00,
    /* F */
    0x00,0x00,0xFE,0x66,0x62,0x68,0x78,0x68,0x60,0x60,0x60,0xF0,0x00,0x00,0x00,0x00,
    /* G */
    0x00,0x00,0x3C,0x66,0xC2,0xC0,0xC0,0xDE,0xC6,0xC6,0x66,0x3A,0x00,0x00,0x00,0x00,
    /* H */
    0x00,0x00,0xC6,0xC6,0xC6,0xC6,0xFE,0xC6,0xC6,0xC6,0xC6,0xC6,0x00,0x00,0x00,0x00,
    /* I */
    0x00,0x00,0x3C,0x18,0x18,0x18,0x18,0x18,0x18,0x18,0x18,0x3C,0x00,0x00,0x00,0x00,
    /* J */
    0x00,0x00,0x1E,0x0C,0x0C,0x0C,0x0C,0x0C,0xCC,0xCC,0xCC,0x78,0x00,0x00,0x00,0x00,
    /* K */
    0x00,0x00,0xE6,0x66,0x66,0x6C,0x78,0x78,0x6C,0x66,0x66,0xE6,0x00,0x00,0x00,0x00,
    /* L */
    0x00,0x00,0xF0,0x60,0x60,0x60,0x60,0x60,0x60,0x62,0x66,0xFE,0x00,0x00,0x00,0x00,
    /* M */
    0x00,0x00,0xC6,0xEE,0xFE,0xFE,0xD6,0xC6,0xC6,0xC6,0xC6,0xC6,0x00,0x00,0x00,0x00,
    /* N */
    0x00,0x00,0xC6,0xE6,0xF6,0xFE,0xDE,0xCE,0xC6,0xC6,0xC6,0xC6,0x00,0x00,0x00,0x00,
    /* O */
    0x00,0x00,0x7C,0xC6,0xC6,0xC6,0xC6,0xC6,0xC6,0xC6,0xC6,0x7C,0x00,0x00,0x00,0x00,
    /* P */
    0x00,0x00,0xFC,0x66,0x66,0x66,0x7C,0x60,0x60,0x60,0x60,0xF0,0x00,0x00,0x00,0x00,
    /* Q */
    0x00,0x00,0x7C,0xC6,0xC6,0xC6,0xC6,0xC6,0xC6,0xD6,0xDE,0x7C,0x0C,0x0E,0x00,0x00,
    /* R */
    0x00,0x00,0xFC,0x66,0x66,0x66,0x7C,0x6C,0x66,0x66,0x66,0xE6,0x00,0x00,0x00,0x00,
    /* S */
    0x00,0x00,0x7C,0xC6,0xC6,0x60,0x38,0x0C,0x06,0xC6,0xC6,0x7C,0x00,0x00,0x00,0x00,
    /* T */
    0x00,0x00,0xFF,0xDB,0x99,0x18,0x18,0x18,0x18,0x18,0x18,0x3C,0x00,0x00,0x00,0x00,
    /* U */
    0x00,0x00,0xC6,0xC6,0xC6,0xC6,0xC6,0xC6,0xC6,0xC6,0xC6,0x7C,0x00,0x00,0x00,0x00,
    /* V */
    0x00,0x00,0xC6,0xC6,0xC6,0xC6,0xC6,0xC6,0xC6,0x6C,0x38,0x10,0x00,0x00,0x00,0x00,
    /* W */
    0x00,0x00,0xC6,0xC6,0xC6,0xC6,0xD6,0xD6,0xD6,0xFE,0xEE,0x6C,0x00,0x00,0x00,0x00,
    /* X */
    0x00,0x00,0xC6,0xC6,0x6C,0x7C,0x38,0x38,0x7C,0x6C,0xC6,0xC6,0x00,0x00,0x00,0x00,
    /* Y */
    0x00,0x00,0xC6,0xC6,0xC6,0x6C,0x38,0x18,0x18,0x18,0x18,0x3C,0x00,0x00,0x00,0x00,
    /* Z */
    0x00,0x00,0xFE,0xC6,0x86,0x0C,0x18,0x30,0x60,0xC2,0xC6,0xFE,0x00,0x00,0x00,0x00,
    /* [ */
    0x00,0x00,0x3C,0x30,0x30,0x30,0x30,0x30,0x30,0x30,0x30,0x3C,0x00,0x00,0x00,0x00,
    /* \ */
    0x00,0x00,0x00,0x80,0xC0,0xE0,0x70,0x38,0x1C,0x0E,0x06,0x02,0x00,0x00,0x00,0x00,
    /* ] */
    0x00,0x00,0x3C,0x0C,0x0C,0x0C,0x0C,0x0C,0x0C,0x0C,0x0C,0x3C,0x00,0x00,0x00,0x00,
    /* ^ */
    0x10,0x38,0x6C,0xC6,0x00,0x00,0x00,0x00,0x00,0x00,0x00,0x00,0x00,0x00,0x00,0x00,
    /* _ */
    0x00,0x00,0x00,0x00,0x00,0x00,0x00,0x00,0x00,0x00,0x00,0x00,0x00,0xFF,0x00,0x00,
    /* ` */
    0x30,0x30,0x18,0x00,0x00,0x00,0x00,0x00,0x00,0x00,0x00,0x00,0x00,0x00,0x00,0x00,
    /* a */
    0x00,0x00,0x00,0x00,0x00,0x78,0x0C,0x7C,0xCC,0xCC,0xCC,0x76,0x00,0x00,0x00,0x00,
    /* b */
    0x00,0x00,0xE0,0x60,0x60,0x78,0x6C,0x66,0x66,0x66,0x66,0x7C,0x00,0x00,0x00,0x00,
    /* c */
    0x00,0x00,0x00,0x00,0x00,0x7C,0xC6,0xC0,0xC0,0xC0,0xC6,0x7C,0x00,0x00,0x00,0x00,
    /* d */
    0x00,0x00,0x1C,0x0C,0x0C,0x3C,0x6C,0xCC,0xCC,0xCC,0xCC,0x76,0x00,0x00,0x00,0x00,
    /* e */
    0x00,0x00,0x00,0x00,0x00,0x7C,0xC6,0xFE,0xC0,0xC0,0xC6,0x7C,0x00,0x00,0x00,0x00,
    /* f */
    0x00,0x00,0x1C,0x36,0x32,0x30,0x78,0x30,0x30,0x30,0x30,0x78,0x00,0x00,0x00,0x00,
    /* g */
    0x00,0x00,0x00,0x00,0x00,0x76,0xCC,0xCC,0xCC,0xCC,0xCC,0x7C,0x0C,0xCC,0x78,0x00,
    /* h */
    0x00,0x00,0xE0,0x60,0x60,0x6C,0x76,0x66,0x66,0x66,0x66,0xE6,0x00,0x00,0x00,0x00,
    /* i */
    0x00,0x00,0x18,0x18,0x00,0x38,0x18,0x18,0x18,0x18,0x18,0x3C,0x00,0x00,0x00,0x00,
    /* j */
    0x00,0x00,0x06,0x06,0x00,0x0E,0x06,0x06,0x06,0x06,0x06,0x06,0x66,0x66,0x3C,0x00,
    /* k */
    0x00,0x00,0xE0,0x60,0x60,0x66,0x6C,0x78,0x78,0x6C,0x66,0xE6,0x00,0x00,0x00,0x00,
    /* l */
    0x00,0x00,0x38,0x18,0x18,0x18,0x18,0x18,0x18,0x18,0x18,0x3C,0x00,0x00,0x00,0x00,
    /* m */
    0x00,0x00,0x00,0x00,0x00,0xE6,0xFF,0xDB,0xDB,0xDB,0xDB,0xDB,0x00,0x00,0x00,0x00,
    /* n */
    0x00,0x00,0x00,0x00,0x00,0xDC,0x66,0x66,0x66,0x66,0x66,0x66,0x00,0x00,0x00,0x00,
    /* o */
    0x00,0x00,0x00,0x00,0x00,0x7C,0xC6,0xC6,0xC6,0xC6,0xC6,0x7C,0x00,0x00,0x00,0x00,
    /* p */
    0x00,0x00,0x00,0x00,0x00,0xDC,0x66,0x66,0x66,0x66,0x66,0x7C,0x60,0x60,0xF0,0x00,
    /* q */
    0x00,0x00,0x00,0x00,0x00,0x76,0xCC,0xCC,0xCC,0xCC,0xCC,0x7C,0x0C,0x0C,0x1E,0x00,
    /* r */
    0x00,0x00,0x00,0x00,0x00,0xDC,0x76,0x66,0x60,0x60,0x60,0xF0,0x00,0x00,0x00,0x00,
    /* s */
    0x00,0x00,0x00,0x00,0x00,0x7C,0xC6,0x60,0x38,0x0C,0xC6,0x7C,0x00,0x00,0x00,0x00,
    /* t */
    0x00,0x00,0x10,0x30,0x30,0xFC,0x30,0x30,0x30,0x30,0x36,0x1C,0x00,0x00,0x00,0x00,
    /* u */
    0x00,0x00,0x00,0x00,0x00,0xCC,0xCC,0xCC,0xCC,0xCC,0xCC,0x76,0x00,0x00,0x00,0x00,
    /* v */
    0x00,0x00,0x00,0x00,0x00,0xC6,0xC6,0xC6,0xC6,0xC6,0x6C,0x38,0x00,0x00,0x00,0x00,
    /* w */
    0x00,0x00,0x00,0x00,0x00,0xC6,0xC6,0xD6,0xD6,0xD6,0xFE,0x6C,0x00,0x00,0x00,0x00,
    /* x */
    0x00,0x00,0x00,0x00,0x00,0xC6,0x6C,0x38,0x38,0x38,0x6C,0xC6,0x00,0x00,0x00,0x00,
    /* y */
    0x00,0x00,0x00,0x00,0x00,0xC6,0xC6,0xC6,0xC6,0xC6,0xC6,0x7E,0x06,0x0C,0xF8,0x00,
    /* z */
    0x00,0x00,0x00,0x00,0x00,0xFE,0xCC,0x18,0x30,0x60,0xC6,0xFE,0x00,0x00,0x00,0x00,
    /* { */
    0x00,0x00,0x0E,0x18,0x18,0x18,0x70,0x18,0x18,0x18,0x18,0x0E,0x00,0x00,0x00,0x00,
    /* | */
    0x00,0x00,0x18,0x18,0x18,0x18,0x00,0x18,0x18,0x18,0x18,0x18,0x00,0x00,0x00,0x00,
    /* } */
    0x00,0x00,0x70,0x18,0x18,0x18,0x0E,0x18,0x18,0x18,0x18,0x70,0x00,0x00,0x00,0x00,
    /* ~ */
    0x00,0x00,0x76,0xDC,0x00,0x00,0x00,0x00,0x00,0x00,0x00,0x00,0x00,0x00,0x00,0x00,
};
```

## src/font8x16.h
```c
#ifndef FONT8X16_H
#define FONT8X16_H

/**
 * @brief Minimal 8x16 bitmap font for RGB565 displays.
 *
 * Covers ASCII 32-126 (printable characters). Each character is
 * 8 pixels wide, 16 pixels tall, stored as 16 bytes (one byte per row,
 * MSB = leftmost pixel).
 *
 * Total size: 95 characters × 16 bytes = 1,520 bytes of flash.
 */

#include <stdint.h>

#define FONT_W 8
#define FONT_H 16
#define FONT_FIRST_CHAR 32
#define FONT_LAST_CHAR 126

/* Font data — 16 bytes per character, 95 characters */
extern const uint8_t font8x16_data[];

#endif /* FONT8X16_H */
```

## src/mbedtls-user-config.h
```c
/*
 * mbedTLS user config overrides for TinyGS nRF52
 *
 * The NCS PSA crypto path doesn't enable legacy MBEDTLS_RSA_C and
 * MBEDTLS_PKCS1_V15 via Kconfig. But the TLS key exchange code
 * (ECDHE-RSA) needs these defines to compile non-empty cipher suites.
 * mqtt.tinygs.com requires ECDHE-RSA-AES256-GCM-SHA384 over TLS 1.2.
 */

#ifndef MBEDTLS_RSA_C
#define MBEDTLS_RSA_C
#endif


#ifndef MBEDTLS_PKCS1_V15
#define MBEDTLS_PKCS1_V15
#endif

#ifndef MBEDTLS_PKCS1_V21
#define MBEDTLS_PKCS1_V21
#endif


/* Force ECDHE-RSA key exchange — nrf-config.h #undef's this because
 * the NCS Kconfig path doesn't resolve it with OpenThread PSA backend.
 * mqtt.tinygs.com requires ECDHE-RSA-AES256-GCM-SHA384. */
#ifndef MBEDTLS_KEY_EXCHANGE_ECDHE_RSA_ENABLED
#define MBEDTLS_KEY_EXCHANGE_ECDHE_RSA_ENABLED
#endif


/* SHA384 requires SHA512 in mbedTLS */
#ifndef MBEDTLS_SHA512_C
#define MBEDTLS_SHA512_C
#endif

/* PEM parsing for CA cert */
#ifndef MBEDTLS_PEM_PARSE_C
#define MBEDTLS_PEM_PARSE_C
#endif

#ifndef MBEDTLS_BASE64_C
#define MBEDTLS_BASE64_C
#endif

/* X.509 cert parsing needed for server cert verification during handshake */
#ifndef MBEDTLS_X509_CRT_PARSE_C
#define MBEDTLS_X509_CRT_PARSE_C
#endif

#ifndef MBEDTLS_X509_USE_C
#define MBEDTLS_X509_USE_C
#endif

#ifndef MBEDTLS_OID_C
#define MBEDTLS_OID_C
#endif

#ifndef MBEDTLS_ASN1_PARSE_C
#define MBEDTLS_ASN1_PARSE_C
#endif

/* PK (public key) parsing for server certificate validation */
#ifndef MBEDTLS_PK_C
#define MBEDTLS_PK_C
#endif

#ifndef MBEDTLS_PK_PARSE_C
#define MBEDTLS_PK_PARSE_C
#endif
```

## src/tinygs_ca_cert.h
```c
/* TinyGS Intermediary CA certificate.
 * Issuer: TinyGS Root CA
 * Subject: TinyGS Intermediary CA
 * Valid: 2025-07-09 to 2035-07-07 */
static const char tinygs_ca_cert[] =
"-----BEGIN CERTIFICATE-----\n"
"MIIEhTCCA22gAwIBAgICEAIwDQYJKoZIhvcNAQELBQAwgYwxCzAJBgNVBAYTAkVT\n"
"MQ8wDQYDVQQIDAZNQURSSUQxDzANBgNVBAcMBk1hZHJpZDEPMA0GA1UECgwGVGlu\n"
"eUdTMQ8wDQYDVQQLDAZUaW55R1MxFzAVBgNVBAMMDlRpbnlHUyBSb290IENBMSAw\n"
"HgYJKoZIhvcNAQkBFhF0aW55Z3NAdGlueWdzLmNvbTAeFw0yNTA3MDkxNzE3MDBa\n"
"Fw0zNTA3MDcxNzE3MDBaMIGDMQswCQYDVQQGEwJFUzEPMA0GA1UECAwGTUFEUklE\n"
"MQ8wDQYDVQQKDAZUaW55R1MxDzANBgNVBAsMBlRpbnlHUzEfMB0GA1UEAwwWVGlu\n"
"eUdTIEludGVybWVkaWFyeSBDQTEgMB4GCSqGSIb3DQEJARYRdGlueWdzQHRpbnln\n"
"cy5jb20wggEiMA0GCSqGSIb3DQEBAQUAA4IBDwAwggEKAoIBAQC4qooMnUw4+cBY\n"
"y5nh1AU0Zpcq6oBVVyG28sWD8zMn84NRC8LZ+8CnzNuLF9KiXnaq9hf8uweoH+1X\n"
"IgRG2dZEzFXFZVViuJnWczoxB0mlFlNWVr7azvnowBsRE73t1Gcuxy2dwsy0zZmi\n"
"g+ygSX+JDLpxd5ovb1tMzHyTVdZFzwmHxu0sOlRjoijs9k4yMWyD8xfuZIr+Gx+t\n"
"ADbnKtOn74EnQJAfRLQKxhFCDHgapXmYpQpU5V2rja1Kp0u5N0dEGNo//Qhs4x20\n"
"QggnJ1lqaHkz2ewy4FkJEmVY4m+Ch0T+vIupqNgorklFXvsOu+iOqw2pI/2n1mob\n"
"iiltU84TAgMBAAGjgfcwgfQwHQYDVR0OBBYEFNKg88mfbj2Bke8B+zjdQS6R5E7S\n"
"MB8GA1UdIwQYMBaAFDyx0u0VwJldHo0F8xdFPJBlLF6sMBIGA1UdEwEB/wQIMAYB\n"
"Af8CAQAwDgYDVR0PAQH/BAQDAgGGMC4GA1UdHwQnMCUwI6AhoB+GHWh0dHA6Ly9j\n"
"cmwudGlueWdzLmNvbS9jcmwuY3JsMF4GCCsGAQUFBwEBBFIwUDApBggrBgEFBQcw\n"
"AoYdaHR0cDovL29jc3AudGlueWdzLmNvbS9jYS5jcnQwIwYIKwYBBQUHMAGGF2h0\n"
"dHA6Ly9vY3NwLnRpbnlncy5jb20vMA0GCSqGSIb3DQEBCwUAA4IBAQBpZX2+S4zf\n"
"i6VNvLrFSMPBXUuXQ7Pxpa24zrvKZ83fIfK1P3LHUrGbzi1IsQcswoXEBnPNYlXR\n"
"AmwAM3LIDC+3/5jhW7ZOSZSeRuYSk8UqwMjahrJMhoNVMy08XNK4okBjUGjEPfBL\n"
"G7NSS1oVMFqvDAXrPrGKzTL61Ve0oZLH3cWkG95t/LVFXeV9ZxJn0OhYq+xpLp62\n"
"7Nkynv0AfDbwo30BRm8RxwA9vSN4BKRv5nmtYll5AvDKV07/he0e7Zr207NrHhPy\n"
"d/t+S7iB1kx1kfoGBQ3NrgVGXHrgxaxP4KI4wbxpOmq57iyK3EeBtSu2IOrA9F1K\n"
"5x2JGn0L0A9E\n"
"-----END CERTIFICATE-----\n";
```

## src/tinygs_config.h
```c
#ifndef TINYGS_CONFIG_H
#define TINYGS_CONFIG_H

/**
 * @file tinygs_config.h
 * @brief Persistent configuration store using Zephyr Settings (NVS backend).
 *
 * Uses Zephyr's settings subsystem with key prefix "tgs/" to coexist with
 * OpenThread's "ot/" keys on the same NVS partition. NVS provides automatic
 * flash wear-leveling.
 *
 * New config items are added by defining a new key — old firmware that doesn't
 * know about the key simply ignores it, and new firmware uses a default if the
 * key isn't present. No version number required for forward compatibility.
 *
 * A schema version is stored at "tgs/ver" for backward-incompatible changes
 * (e.g., changing a key's value format). On load, if ver < TINYGS_CONFIG_VER,
 * a migration callback can transform old values.
 */

#include <stdint.h>
#include <stddef.h>

/* Current config schema version — bump when a key's format changes */
#define TINYGS_CONFIG_VER 1

/**
 * @brief Initialize the settings subsystem and load saved config.
 *
 * Must be called after kernel init, before MQTT connect.
 * Populates the runtime config variables (tinygs_station_lat, cfg_station, etc.)
 * from NVS. Missing keys use compiled defaults.
 *
 * @return 0 on success, negative errno on failure.
 */
/* Runtime config — owned by tinygs_config.cpp, used everywhere */
extern char cfg_station[32];
extern char cfg_mqtt_user[64];
extern char cfg_mqtt_pass[64];
extern char cfg_adv_prm[256];  /* Opaque advanced-params blob from set_adv_prm */

/* Web UI admin password (Phase 4). Used for HTTP Basic auth on /config,
 * /restart, and /cs command writes. Default "tinygs" at first boot —
 * user is expected to change it via /config. The default is documented
 * to the user via the form's placeholder text; we don't enforce a
 * change, since out-of-the-box flow on Thread is already LAN-trusted. */
extern char cfg_admin_pw[32];

/* TX enable. Default 0 (RX-only). When 0, the station advertises tx:false in
 * welcome + RX payloads (server then never schedules tx commands) and the
 * device-side tx command handler short-circuits. Set via config.json
 * "tx_enable": 1. Operator is responsible for antenna, licensing, and
 * regulatory compliance before enabling. */
extern int8_t cfg_tx_enable;

/* Timezone index into tinygs_tz_values[] (0..tinygs_tz_count-1). Default 456
 * = Etc/UTC. Applied via tinygs_tz_apply() after NVS load and any /config
 * POST; localtime_r() then formats web-UI / log timestamps in the user's
 * zone with DST handled by the embedded POSIX TZ string. */
extern uint16_t cfg_tz_idx;

/* OpenThread/network console log verbosity, on the OT log-level scale:
 * 0=NONE, 1=CRIT, 2=WARN, 3=NOTE. Default 2 (WARN) — silences the steady-state
 * MeshForwarder "Dropping rx (frag) frame" flood (emitted at NOTE, benign
 * multicast reassembly timeouts). Set 3 (NOTE) via config.json "log_level" to
 * restore MLE attach/role/parent NOTES for an RF/attach debug session, without
 * a reflash. Applied at boot (and after /config edits) via tinygs_apply_log_level().
 * Compile-time max is NOTE (prj.conf), so values >3 have no effect. App/ERR
 * logs are unaffected — this only gates the high-volume OT network stack. */
extern int8_t cfg_log_level;

int tinygs_config_init(void);

/**
 * @brief Push cfg_log_level into OpenThread via otLoggingSetLevel().
 *
 * Safe to call once OpenThread is initialised. Clamps to [0,3] (the compiled
 * NOTE ceiling). No-op difference if OT rejects an out-of-range level.
 */
void tinygs_apply_log_level(void);

/**
 * @brief Save a single config key to NVS.
 *
 * @param key  Short key name (without "tgs/" prefix), e.g. "lat", "station".
 * @param data Pointer to value.
 * @param len  Value size in bytes.
 * @return 0 on success, negative errno on failure.
 */
int tinygs_config_save(const char *key, const void *data, size_t len);

/**
 * @brief Save station location to NVS.
 */
int tinygs_config_save_location(float lat, float lon, float alt);

/**
 * @brief Save station name to NVS.
 */
int tinygs_config_save_station(const char *name);

/**
 * @brief Save modem_conf (last begine/batch_conf payload) to NVS.
 */
int tinygs_config_save_modem_conf(const char *conf);

/* Snapshot of the last config.json content we wrote to FATFS. Used by the
 * boot-time sync logic to distinguish "user edited the file" (file ≠
 * snapshot) from "NVS got updated at runtime" (file = snapshot, NVS ≠
 * memory). Sized to fit our current ~200 byte config.json with headroom. */
#define TINYGS_CONFIG_SNAPSHOT_MAX 384
extern char cfg_last_snapshot[TINYGS_CONFIG_SNAPSHOT_MAX];

/**
 * @brief Save the current config.json snapshot to NVS. Call after each
 * fresh write of config.json to FATFS.
 */
int tinygs_config_save_snapshot(const char *content);

/**
 * @brief Save radio state (freq, sf, bw, cr, satellite, norad) to NVS.
 */
int tinygs_config_save_radio(void);

#endif /* TINYGS_CONFIG_H */
```
